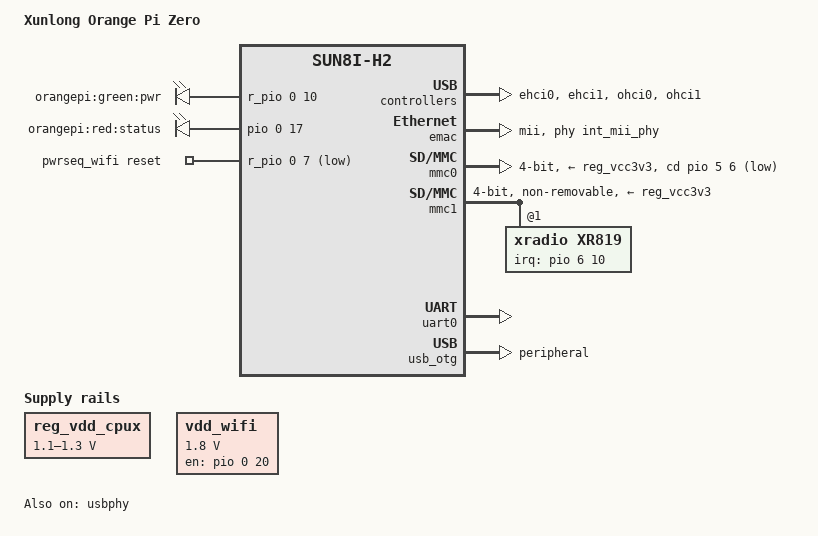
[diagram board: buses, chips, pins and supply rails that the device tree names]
/dts-v1/;
#include "sun8i-h3.dtsi"
#include "sunxi-common-regulators.dtsi"

#include <dt-bindings/gpio/gpio.h>
#include <dt-bindings/input/input.h>

/ {
	model = "Xunlong Orange Pi Zero";
	compatible = "xunlong,orangepi-zero", "allwinner,sun8i-h2-plus";
	
	aliases {
		serial0 = &uart0;
		/* ethernet0 is the H3 emac, defined in sun8i-h3.dtsi */
		ethernet0 = &emac;
		ethernet1 = &xr819;
	};
	
	chosen {
		stdout-path = "serial0:115200n8";
	};
	
	leds {
		compatible = "gpio-leds";
		
		pwr_led {
			label = "orangepi:green:pwr";
			gpios = <&r_pio 0 10 GPIO_ACTIVE_HIGH>;
			default-state = "on";
		};
		
		status_led {
			label = "orangepi:red:status";
			gpios = <&pio 0 17 GPIO_ACTIVE_HIGH>;
		};
	};
	
	reg_vdd_cpux: vdd-cpux-regulator {
		compatible = "regulator-gpio";
		regulator-name = "vdd-cpux";
		regulator-type = "voltage";
		regulator-boot-on;
		regulator-always-on;
		regulator-min-microvolt = <1100000>;
		regulator-max-microvolt = <1300000>;
		regulator-ramp-delay = <50>; /* 4ms */
		
		gpios = <&r_pio 0 6 GPIO_ACTIVE_HIGH>; /* PL6 */
		enable-active-high;
		gpios-states = <1>;
		states = <1100000 0>, <1300000 1>;
	};
	
	vdd_wifi: vdd_wifi {
		compatible = "regulator-fixed";
		regulator-name = "wifi";
		regulator-min-microvolt = <1800000>;
		regulator-max-microvolt = <1800000>;
		gpio = <&pio 0 20 GPIO_ACTIVE_HIGH>;
		startup-delay-us = <70000>;
		enable-active-high;
	};
	
	pwrseq_wifi: pwrseq_wifi@0 {
		compatible = "mmc-pwrseq-simple";
		pinctrl-names = "default";
		pinctrl-0 = <&wifi_rst>;
		reset-gpios = <&r_pio 0 7 GPIO_ACTIVE_LOW>;
		post-power-on-delay-ms = <50>;
	};
};

&cpu0 {
	cpu-supply = <&reg_vdd_cpux>;
};

&ehci0 {
	status = "okay";
};

&ehci1 {
	status = "okay";
};

&emac {
	phy-handle = <&int_mii_phy>;
	phy-mode = "mii";
	allwinner,leds-active-low;
	status = "okay";
};

&mmc0 {
	vmmc-supply = <&reg_vcc3v3>;
	bus-width = <4>;
	cd-gpios = <&pio 5 6 GPIO_ACTIVE_LOW>; /* PF6 */
	status = "okay";
};

&mmc1 {
	pinctrl-names = "default";
	pinctrl-0 = <&mmc1_pins_a>;
	vmmc-supply = <&reg_vcc3v3>;
	vqmmc-supply = <&vdd_wifi>;
	mmc-pwrseq = <&pwrseq_wifi>;
	bus-width = <4>;
	max-frequency = <16000000>;
	non-removable;
	status = "okay";

	/*
	 * Explicitly define the sdio device, so that we can add an ethernet
	 * alias for it (which e.g. makes u-boot set a mac-address).
	 */
	xr819: sdio_wifi@1 {
		reg = <1>;
		compatible = "xradio,xr819";
		pinctrl-names = "default";
		pinctrl-0 = <&wifi_wake>;
		interrupt-parent = <&pio>;
		interrupts = <6 10 IRQ_TYPE_EDGE_RISING>;
		interrupt-names = "host-wake";
		local-mac-address = [dc 44 6d c0 ff ee];
	};
};

&pio {
	wifi_wake: wifi_wake {
		pins = "PG10";
		function = "gpio_in";
    };
};

&r_pio {
	wifi_rst: wifi_rst {
		pins = "PL7";
		function = "gpio_out";
    };
};

&mmc1_pins_a {
	bias-pull-up;
};

&ohci0 {
	status = "okay";
};

&ohci1 {
	status = "okay";
};

&spi0 {
	/* Disable SPI NOR by default: it optional on Orange Pi Zero boards */
	status = "disabled";
	
	flash@0 {
		#address-cells = <1>;
		#size-cells = <1>;
		compatible = "mxicy,mx25l1606e", "jedec,spi-nor";
		reg = <0>;
		spi-max-frequency = <40000000>;
	};
};

&uart0 {
	pinctrl-names = "default";
	pinctrl-0 = <&uart0_pa_pins>;
	status = "okay";
};

&uart1 {
	pinctrl-names = "default";
	pinctrl-0 = <&uart1_pins>;
	status = "disabled";
};

&uart2 {
	pinctrl-names = "default";
	pinctrl-0 = <&uart2_pins>;
	status = "disabled";
};

&usb_otg {
	dr_mode = "peripheral";
	status = "okay";
};

&usbphy {
	/*
	* USB Type-A port VBUS is always on. However, MicroUSB VBUS can only
	* power up the board; when it's used as OTG port, this VBUS is
	* always off even if the board is powered via GPIO pins.
	*/
	status = "okay";
	usb0_id_det-gpios = <&pio 6 12 GPIO_ACTIVE_HIGH>; /* PG12 */
};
